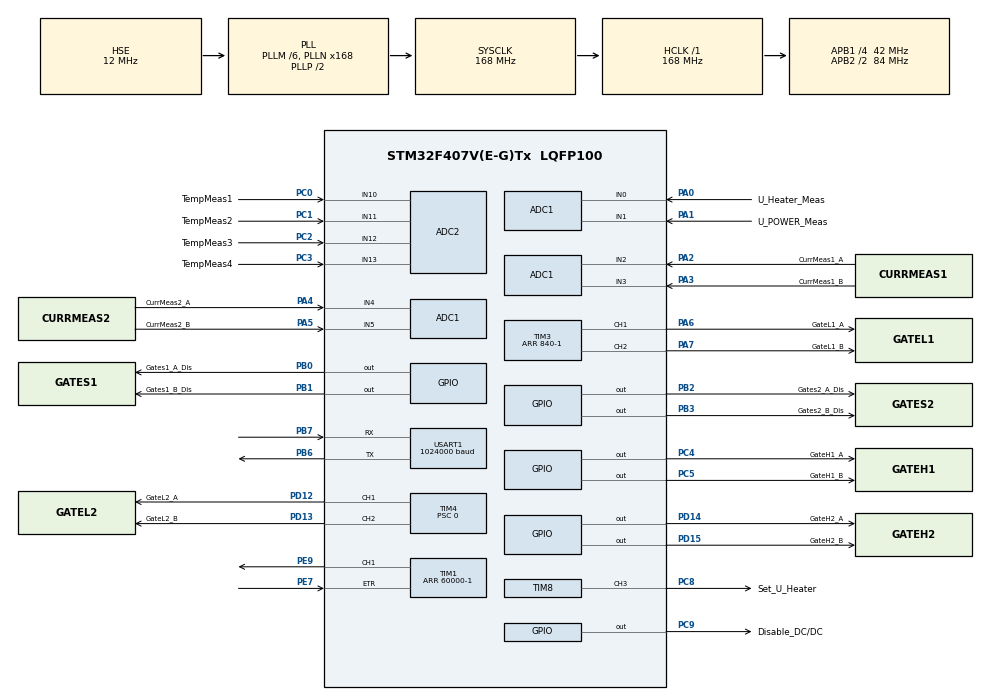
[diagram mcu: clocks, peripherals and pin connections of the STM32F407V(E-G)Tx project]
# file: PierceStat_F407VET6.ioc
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ADC1.Channel-0\#ChannelRegularConversion=ADC_CHANNEL_0
ADC1.Channel-1\#ChannelRegularConversion=ADC_CHANNEL_1
ADC1.Channel-2\#ChannelRegularConversion=ADC_CHANNEL_2
ADC1.Channel-3\#ChannelRegularConversion=ADC_CHANNEL_3
ADC1.Channel-4\#ChannelRegularConversion=ADC_CHANNEL_4
ADC1.Channel-5\#ChannelRegularConversion=ADC_CHANNEL_5
ADC1.ContinuousConvMode=ENABLE
ADC1.DMAContinuousRequests=ENABLE
ADC1.EOCSelection=ADC_EOC_SEQ_CONV
ADC1.NbrOfConversion=6
ADC1.NbrOfConversionFlag=1
ADC1.Rank-0\#ChannelRegularConversion=1
ADC1.Rank-1\#ChannelRegularConversion=2
ADC1.Rank-2\#ChannelRegularConversion=3
ADC1.Rank-3\#ChannelRegularConversion=4
ADC1.Rank-4\#ChannelRegularConversion=5
ADC1.Rank-5\#ChannelRegularConversion=6
ADC1.SamplingTime-0\#ChannelRegularConversion=ADC_SAMPLETIME_144CYCLES
ADC1.SamplingTime-1\#ChannelRegularConversion=ADC_SAMPLETIME_144CYCLES
ADC1.SamplingTime-2\#ChannelRegularConversion=ADC_SAMPLETIME_144CYCLES
ADC1.SamplingTime-3\#ChannelRegularConversion=ADC_SAMPLETIME_144CYCLES
ADC1.SamplingTime-4\#ChannelRegularConversion=ADC_SAMPLETIME_144CYCLES
ADC1.SamplingTime-5\#ChannelRegularConversion=ADC_SAMPLETIME_144CYCLES
ADC1.master=1
ADC2.Channel-1\#ChannelRegularConversion=ADC_CHANNEL_10
ADC2.Channel-2\#ChannelRegularConversion=ADC_CHANNEL_11
ADC2.Channel-3\#ChannelRegularConversion=ADC_CHANNEL_12
ADC2.Channel-4\#ChannelRegularConversion=ADC_CHANNEL_13
ADC2.ClockPrescaler=ADC_CLOCK_SYNC_PCLK_DIV4
ADC2.ContinuousConvMode=ENABLE
ADC2.DMAContinuousRequests=ENABLE
ADC2.EOCSelection=ADC_EOC_SEQ_CONV
ADC2.NbrOfConversion=4
ADC2.NbrOfConversionFlag=1
ADC2.Rank-1\#ChannelRegularConversion=1
ADC2.Rank-2\#ChannelRegularConversion=2
ADC2.Rank-3\#ChannelRegularConversion=3
ADC2.Rank-4\#ChannelRegularConversion=4
ADC2.SamplingTime-1\#ChannelRegularConversion=ADC_SAMPLETIME_144CYCLES
ADC2.SamplingTime-2\#ChannelRegularConversion=ADC_SAMPLETIME_144CYCLES
ADC2.SamplingTime-3\#ChannelRegularConversion=ADC_SAMPLETIME_144CYCLES
ADC2.SamplingTime-4\#ChannelRegularConversion=ADC_SAMPLETIME_144CYCLES
Dma.ADC1.0.Direction=DMA_PERIPH_TO_MEMORY
Dma.ADC1.0.FIFOMode=DMA_FIFOMODE_DISABLE
Dma.ADC1.0.Instance=DMA2_Stream0
Dma.ADC1.0.MemDataAlignment=DMA_MDATAALIGN_HALFWORD
Dma.ADC1.0.MemInc=DMA_MINC_ENABLE
Dma.ADC1.0.Mode=DMA_CIRCULAR
Dma.ADC1.0.PeriphDataAlignment=DMA_PDATAALIGN_HALFWORD
Dma.ADC1.0.PeriphInc=DMA_PINC_DISABLE
Dma.ADC1.0.Priority=DMA_PRIORITY_LOW
Dma.ADC2.1.Direction=DMA_PERIPH_TO_MEMORY
Dma.ADC2.1.FIFOMode=DMA_FIFOMODE_DISABLE
Dma.ADC2.1.Instance=DMA2_Stream2
Dma.ADC2.1.MemDataAlignment=DMA_MDATAALIGN_HALFWORD
Dma.ADC2.1.MemInc=DMA_MINC_ENABLE
Dma.ADC2.1.Mode=DMA_CIRCULAR
Dma.ADC2.1.PeriphDataAlignment=DMA_PDATAALIGN_HALFWORD
Dma.ADC2.1.PeriphInc=DMA_PINC_DISABLE
Dma.ADC2.1.Priority=DMA_PRIORITY_LOW
Dma.Request0=ADC1
Dma.Request1=ADC2
IWDG.Prescaler=IWDG_PRESCALER_16
Mcu.Family=STM32F4
Mcu.Name=STM32F407V(E-G)Tx
Mcu.Package=LQFP100
NVIC.DMA2_Stream0_IRQn=true\:1\:0\:true\:false\:true\:false\:true\:true
NVIC.DMA2_Stream2_IRQn=true\:1\:0\:true\:false\:true\:false\:true\:true
NVIC.PriorityGroup=NVIC_PRIORITYGROUP_4
NVIC.TIM1_UP_TIM10_IRQn=true\:0\:0\:false\:false\:true\:true\:true\:true
NVIC.TIM6_DAC_IRQn=true\:3\:0\:true\:false\:true\:true\:true\:true
NVIC.USART1_IRQn=true\:1\:0\:true\:false\:true\:true\:true\:true
PA0-WKUP.GPIO_Label=U_Heater_Meas
PA0-WKUP.Signal=ADCx_IN0
PA1.GPIO_Label=U_POWER_Meas
PA1.Signal=ADCx_IN1
PA13.Mode=Serial_Wire
PA13.Signal=SYS_JTMS-SWDIO
PA14.Mode=Serial_Wire
PA14.Signal=SYS_JTCK-SWCLK
PA2.GPIO_Label=CurrMeas1_A
PA2.Signal=ADCx_IN2
PA3.GPIO_Label=CurrMeas1_B
PA3.Signal=ADCx_IN3
PA4.GPIO_Label=CurrMeas2_A
PA4.Signal=ADCx_IN4
PA5.GPIO_Label=CurrMeas2_B
PA5.Signal=ADCx_IN5
PA6.GPIO_Label=GateL1_A
PA6.Signal=S_TIM3_CH1
PA7.GPIO_Label=GateL1_B
PA7.Signal=S_TIM3_CH2
PB0.GPIO_Label=Gates1_A_Dis
PB0.PinState=GPIO_PIN_SET
PB0.Signal=GPIO_Output
PB1.GPIO_Label=Gates1_B_Dis
PB1.PinState=GPIO_PIN_SET
PB1.Signal=GPIO_Output
PB2.GPIO_Label=Gates2_A_Dis
PB2.PinState=GPIO_PIN_SET
PB2.Signal=GPIO_Output
PB3.GPIO_Label=Gates2_B_Dis
PB3.PinState=GPIO_PIN_SET
PB3.Signal=GPIO_Output
PB6.Mode=Asynchronous
PB6.Signal=USART1_TX
PB7.Mode=Asynchronous
PB7.Signal=USART1_RX
PC0.GPIO_Label=TempMeas1
PC0.Signal=ADCx_IN10
PC1.GPIO_Label=TempMeas2
PC1.Signal=ADCx_IN11
PC2.GPIO_Label=TempMeas3
PC2.Signal=ADCx_IN12
PC3.GPIO_Label=TempMeas4
PC3.Signal=ADCx_IN13
PC4.GPIO_Label=GateH1_A
PC4.PinState=GPIO_PIN_SET
PC4.Signal=GPIO_Output
PC5.GPIO_Label=GateH1_B
PC5.PinState=GPIO_PIN_SET
PC5.Signal=GPIO_Output
PC8.GPIO_Label=Set_U_Heater
PC8.Signal=S_TIM8_CH3
PC9.GPIO_Label=Disable_DC/DC
PC9.PinState=GPIO_PIN_RESET
PC9.Signal=GPIO_Output
PD12.GPIO_Label=GateL2_A
PD12.Signal=S_TIM4_CH1
PD13.GPIO_Label=GateL2_B
PD13.Signal=S_TIM4_CH2
PD14.GPIO_Label=GateH2_A
PD14.PinState=GPIO_PIN_SET
PD14.Signal=GPIO_Output
PD15.GPIO_Label=GateH2_B
PD15.PinState=GPIO_PIN_SET
PD15.Signal=GPIO_Output
PE7.Signal=S_TIM1_ETR
PE9.Signal=S_TIM1_CH1
PH0-OSC_IN.Mode=HSE-External-Oscillator
PH0-OSC_IN.Signal=RCC_OSC_IN
PH1-OSC_OUT.Mode=HSE-External-Oscillator
PH1-OSC_OUT.Signal=RCC_OSC_OUT
ProjectManager.HeapSize=0x200
ProjectManager.StackSize=0x400
ProjectManager.TargetToolchain=STM32CubeIDE
RCC.48MHZClocksFreq_Value=84000000
RCC.AHBFreq_Value=168000000
RCC.APB1CLKDivider=RCC_HCLK_DIV4
RCC.APB1Freq_Value=42000000
RCC.APB1TimFreq_Value=84000000
RCC.APB2CLKDivider=RCC_HCLK_DIV2
RCC.APB2Freq_Value=84000000
RCC.APB2TimFreq_Value=168000000
RCC.CortexFreq_Value=168000000
RCC.HCLKFreq_Value=168000000
RCC.HSE_VALUE=12000000
RCC.HSI_VALUE=16000000
RCC.LSE_VALUE=32768
RCC.PLLI2SN=210
RCC.PLLM=6
RCC.PLLN=168
RCC.PLLSourceVirtual=RCC_PLLSOURCE_HSE
RCC.RCC_MCO1Source=RCC_MCO1SOURCE_HSE
RCC.RCC_MCO2Source=RCC_MCO2SOURCE_PLLI2SCLK
RCC.SYSCLKFreq_VALUE=168000000
RCC.SYSCLKSource=RCC_SYSCLKSOURCE_PLLCLK
RCC.VCOOutputFreq_Value=336000000
SH.ADCx_IN0.0=ADC1_IN0,IN0
SH.ADCx_IN1.0=ADC1_IN1,IN1
SH.ADCx_IN10.0=ADC2_IN10,IN10
SH.ADCx_IN11.0=ADC2_IN11,IN11
SH.ADCx_IN12.0=ADC2_IN12,IN12
SH.ADCx_IN13.0=ADC2_IN13,IN13
SH.ADCx_IN2.0=ADC1_IN2,IN2
SH.ADCx_IN3.0=ADC1_IN3,IN3
SH.ADCx_IN4.0=ADC1_IN4,IN4
SH.ADCx_IN5.0=ADC1_IN5,IN5
SH.S_TIM1_CH1.0=TIM1_CH1,PWM Generation1 CH1
SH.S_TIM1_ETR.0=TIM1_ETR,ClockSourceETR_Mode2
SH.S_TIM3_CH1.0=TIM3_CH1,PWM Generation1 CH1
SH.S_TIM3_CH2.0=TIM3_CH2,PWM Generation2 CH2
SH.S_TIM4_CH1.0=TIM4_CH1,PWM Generation1 CH1
SH.S_TIM4_CH2.0=TIM4_CH2,PWM Generation2 CH2
SH.S_TIM8_CH3.0=TIM8_CH3,PWM Generation3 CH3
TIM1.Channel-PWM\ Generation1\ CH1=TIM_CHANNEL_1
TIM1.ClockFilter=0
TIM1.Period=60000-1
TIM1.Pulse-PWM\ Generation1\ CH1=30000-1
TIM1.TIM_MasterSlaveMode=TIM_MASTERSLAVEMODE_DISABLE
TIM2.Period=4294967295
TIM3.Channel-PWM\ Generation1\ CH1=TIM_CHANNEL_1
TIM3.Channel-PWM\ Generation2\ CH2=TIM_CHANNEL_2
TIM3.Period=840-1
TIM3.Pulse-PWM\ Generation1\ CH1=0
TIM3.Pulse-PWM\ Generation2\ CH2=0
TIM4.Channel-PWM\ Generation1\ CH1=TIM_CHANNEL_1
TIM4.Channel-PWM\ Generation2\ CH2=TIM_CHANNEL_2
TIM4.Period=840-1
TIM4.Prescaler=0
TIM4.Pulse-PWM\ Generation1\ CH1=0
TIM4.Pulse-PWM\ Generation2\ CH2=0
TIM5.Prescaler=8400-1
TIM6.Period=200-1
TIM6.Prescaler=42000-1
TIM8.Channel-PWM\ Generation3\ CH3=TIM_CHANNEL_3
TIM8.Period=16800-1
TIM8.Pulse-PWM\ Generation3\ CH3=2100-1
USART1.BaudRate=1024000
USART1.VirtualMode=VM_ASYNC
VP_IWDG_VS_IWDG.Mode=IWDG_Activate
VP_TIM2_VS_ClockSourceINT.Mode=Internal
VP_TIM3_VS_ClockSourceINT.Mode=Internal
VP_TIM4_VS_ClockSourceINT.Mode=Internal
VP_TIM5_VS_ClockSourceINT.Mode=Internal
VP_TIM6_VS_ClockSourceINT.Mode=Enable_Timer
VP_TIM8_VS_ClockSourceINT.Mode=Internal
board=custom

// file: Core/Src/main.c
/* USER CODE BEGIN Header */
/**
  ******************************************************************************
  * @file           : main.c
  * @brief          : Main program body
  ******************************************************************************
  * @attention
  *
  * Copyright (c) 2022 STMicroelectronics.
  * All rights reserved.
  *
  * This software is licensed under terms that can be found in the LICENSE file
  * in the root directory of this software component.
  * If no LICENSE file comes with this software, it is provided AS-IS.
  *
  ******************************************************************************
  */
/* USER CODE END Header */
#include "main.h"

/* USER CODE BEGIN Includes */

#include <stdio.h>
#include <string.h>
#include "Parameters.h"
#include "UARTCommunication.h"
#include "thermosensors.h"
#include "flashManag.h"
#include "PID.h"
#include "alarms.h"

/* USER CODE END Includes */

/* USER CODE BEGIN PD */
#define FALSE (valueTypes)(bool)false
#define TRUE (valueTypes)(bool)true
/* USER CODE END PD */

ADC_HandleTypeDef hadc1;
ADC_HandleTypeDef hadc2;
DMA_HandleTypeDef hdma_adc1;
DMA_HandleTypeDef hdma_adc2;

IWDG_HandleTypeDef hiwdg;

TIM_HandleTypeDef htim1;
TIM_HandleTypeDef htim2;
TIM_HandleTypeDef htim3;
TIM_HandleTypeDef htim4;
TIM_HandleTypeDef htim5;
TIM_HandleTypeDef htim6;
TIM_HandleTypeDef htim8;

UART_HandleTypeDef huart1;

/* USER CODE BEGIN PV */
//Freq counter variables
uint32_t TimerFreq = 84000000; //Freq of TIM2
uint16_t counterPeriod = 0; //Update period of TIM1 (init in main)
uint32_t counterValue = 0; //TIM2 clock counter value (update in TIM1 interrupt)
uint8_t periodElapsed = 0; //update in TIM1 interrupt

//UART variables
char IDNstring[] = "PierceStat: AssPirates 2023 (CockPit)";

//Buffer for Voltage and Current Measurements
uint16_t dmaADC1buffer[600];
//Buffer for Temp Measurements
uint16_t dmaADC2buffer[400];

//MOSFET Gate PWM
uint32_t freq_PWM_MO = 84000000; //Hz
uint32_t freq_PWM_CH1 = 100000; //Hz
uint32_t freq_PWM_CH2 = 100000; //Hz

//Global alarms
bool globalAlarm = false;
/* USER CODE END PV */

void SystemClock_Config(void);
static void MX_GPIO_Init(void);
static void MX_DMA_Init(void);
static void MX_ADC1_Init(void);
static void MX_ADC2_Init(void);
static void MX_TIM1_Init(void);
static void MX_TIM2_Init(void);
static void MX_TIM3_Init(void);
static void MX_TIM4_Init(void);
static void MX_TIM8_Init(void);
static void MX_USART1_UART_Init(void);
static void MX_TIM5_Init(void);
static void MX_TIM6_Init(void);
static void MX_IWDG_Init(void);

int main(void)
{
  /* USER CODE BEGIN 1 */
  InitParams();
  /* USER CODE END 1 */

  /* MCU Configuration--------------------------------------------------------*/

  /* Reset of all peripherals, Initializes the Flash interface and the Systick. */
  HAL_Init();

  /* Configure the system clock */
  SystemClock_Config();

  /* Initialize all configured peripherals */
  MX_GPIO_Init();
  MX_DMA_Init();
  MX_ADC1_Init();
  MX_ADC2_Init();
  MX_TIM1_Init();
  MX_TIM2_Init();
  MX_TIM3_Init();
  MX_TIM4_Init();
  MX_TIM8_Init();
  MX_USART1_UART_Init();
  MX_TIM5_Init();
  MX_TIM6_Init();
  //MX_IWDG_Init();
  /* USER CODE BEGIN 2 */

  //Init flash reading
  InitVirtAddTab();
  ReadFlash(); //time consuming
  setU_HeaterOnOff(getU_HeaterOnOff());

  //Global 100us clock start (RTC - 120 hours limit)
  HAL_TIM_Base_Start(&htim5);

  //Set_U_Heater PWM (10 kHz, 16800)
  HAL_TIM_PWM_Start(&htim8, TIM_CHANNEL_3);
  //Timer @84MHz for clock reference
  HAL_TIM_Base_Start(&htim2);
  //External clock source for counter
  counterPeriod = __HAL_TIM_GET_AUTORELOAD(&htim1);
  __HAL_TIM_CLEAR_IT(&htim1,TIM_IT_UPDATE);
  HAL_TIM_Base_Start_IT(&htim1);

  //ADC DMA start (10 channels)
  HAL_ADC_Start_DMA(&hadc1, (uint32_t*)dmaADC1buffer, 600);
  HAL_ADC_Start_DMA(&hadc2, (uint32_t*)dmaADC2buffer, 400);

  //100ms interrupt for ADC and other staff
  __HAL_TIM_CLEAR_IT(&htim6,TIM_IT_UPDATE);
  HAL_TIM_Base_Start_IT(&htim6);

  //UART interrupt enabling
  HAL_UART_Receive_IT(&huart1, RXbufferChar, 1);

  //Heater PWM init
  __HAL_TIM_SET_PRESCALER(&htim3, 0);
  __HAL_TIM_SET_AUTORELOAD(&htim3, freq_PWM_MO/freq_PWM_CH1 - 1);
  __HAL_TIM_SET_PRESCALER(&htim4, 0);
  __HAL_TIM_SET_AUTORELOAD(&htim4, freq_PWM_MO/freq_PWM_CH2 - 1);

  /* USER CODE END 2 */

  /* Infinite loop */
  /* USER CODE BEGIN WHILE */
while (1)
{
	//Watch dog reset
	HAL_IWDG_Refresh(&hiwdg);

    /* USER CODE END WHILE */

  }
}

void SystemClock_Config(void)
{
  RCC_OscInitTypeDef RCC_OscInitStruct = {0};
  RCC_ClkInitTypeDef RCC_ClkInitStruct = {0};

  /** Configure the main internal regulator output voltage
  */
  __HAL_RCC_PWR_CLK_ENABLE();
  __HAL_PWR_VOLTAGESCALING_CONFIG(PWR_REGULATOR_VOLTAGE_SCALE1);

  /** Initializes the RCC Oscillators according to the specified parameters
  * in the RCC_OscInitTypeDef structure.
  */
  RCC_OscInitStruct.OscillatorType = RCC_OSCILLATORTYPE_LSI|RCC_OSCILLATORTYPE_HSE;
  RCC_OscInitStruct.HSEState = RCC_HSE_ON;
  RCC_OscInitStruct.LSIState = RCC_LSI_ON;
  RCC_OscInitStruct.PLL.PLLState = RCC_PLL_ON;
  RCC_OscInitStruct.PLL.PLLSource = RCC_PLLSOURCE_HSE;
  RCC_OscInitStruct.PLL.PLLM = 6;
  RCC_OscInitStruct.PLL.PLLN = 168;
  RCC_OscInitStruct.PLL.PLLP = RCC_PLLP_DIV2;
  RCC_OscInitStruct.PLL.PLLQ = 4;
  if (HAL_RCC_OscConfig(&RCC_OscInitStruct) != HAL_OK)
  {
    Error_Handler();
  }

  /** Initializes the CPU, AHB and APB buses clocks
  */
  RCC_ClkInitStruct.ClockType = RCC_CLOCKTYPE_HCLK|RCC_CLOCKTYPE_SYSCLK
                              |RCC_CLOCKTYPE_PCLK1|RCC_CLOCKTYPE_PCLK2;
  RCC_ClkInitStruct.SYSCLKSource = RCC_SYSCLKSOURCE_PLLCLK;
  RCC_ClkInitStruct.AHBCLKDivider = RCC_SYSCLK_DIV1;
  RCC_ClkInitStruct.APB1CLKDivider = RCC_HCLK_DIV4;
  RCC_ClkInitStruct.APB2CLKDivider = RCC_HCLK_DIV2;

  if (HAL_RCC_ClockConfig(&RCC_ClkInitStruct, FLASH_LATENCY_5) != HAL_OK)
  {
    Error_Handler();
  }
}

static void MX_ADC1_Init(void)
{

  ADC_ChannelConfTypeDef sConfig = {0};

  /** Configure the global features of the ADC (Clock, Resolution, Data Alignment and number of conversion)
  */
  hadc1.Instance = ADC1;
  hadc1.Init.ClockPrescaler = ADC_CLOCK_SYNC_PCLK_DIV4;
  hadc1.Init.Resolution = ADC_RESOLUTION_12B;
  hadc1.Init.ScanConvMode = ENABLE;
  hadc1.Init.ContinuousConvMode = ENABLE;
  hadc1.Init.DiscontinuousConvMode = DISABLE;
  hadc1.Init.ExternalTrigConvEdge = ADC_EXTERNALTRIGCONVEDGE_NONE;
  hadc1.Init.ExternalTrigConv = ADC_SOFTWARE_START;
  hadc1.Init.DataAlign = ADC_DATAALIGN_RIGHT;
  hadc1.Init.NbrOfConversion = 6;
  hadc1.Init.DMAContinuousRequests = ENABLE;
  hadc1.Init.EOCSelection = ADC_EOC_SEQ_CONV;
  if (HAL_ADC_Init(&hadc1) != HAL_OK)
  {
    Error_Handler();
  }

  /** Configure for the selected ADC regular channel its corresponding rank in the sequencer and its sample time.
  */
  sConfig.Channel = ADC_CHANNEL_0;
  sConfig.Rank = 1;
  sConfig.SamplingTime = ADC_SAMPLETIME_144CYCLES;
  if (HAL_ADC_ConfigChannel(&hadc1, &sConfig) != HAL_OK)
  {
    Error_Handler();
  }

  /** Configure for the selected ADC regular channel its corresponding rank in the sequencer and its sample time.
  */
  sConfig.Channel = ADC_CHANNEL_1;
  sConfig.Rank = 2;
  if (HAL_ADC_ConfigChannel(&hadc1, &sConfig) != HAL_OK)
  {
    Error_Handler();
  }

  /** Configure for the selected ADC regular channel its corresponding rank in the sequencer and its sample time.
  */
  sConfig.Channel = ADC_CHANNEL_2;
  sConfig.Rank = 3;
  if (HAL_ADC_ConfigChannel(&hadc1, &sConfig) != HAL_OK)
  {
    Error_Handler();
  }

  /** Configure for the selected ADC regular channel its corresponding rank in the sequencer and its sample time.
  */
  sConfig.Channel = ADC_CHANNEL_3;
  sConfig.Rank = 4;
  if (HAL_ADC_ConfigChannel(&hadc1, &sConfig) != HAL_OK)
  {
    Error_Handler();
  }

  /** Configure for the selected ADC regular channel its corresponding rank in the sequencer and its sample time.
  */
  sConfig.Channel = ADC_CHANNEL_4;
  sConfig.Rank = 5;
  if (HAL_ADC_ConfigChannel(&hadc1, &sConfig) != HAL_OK)
  {
    Error_Handler();
  }

  /** Configure for the selected ADC regular channel its corresponding rank in the sequencer and its sample time.
  */
  sConfig.Channel = ADC_CHANNEL_5;
  sConfig.Rank = 6;
  if (HAL_ADC_ConfigChannel(&hadc1, &sConfig) != HAL_OK)
  {
    Error_Handler();
  }

}

static void MX_ADC2_Init(void)
{

  ADC_ChannelConfTypeDef sConfig = {0};

  /** Configure the global features of the ADC (Clock, Resolution, Data Alignment and number of conversion)
  */
  hadc2.Instance = ADC2;
  hadc2.Init.ClockPrescaler = ADC_CLOCK_SYNC_PCLK_DIV4;
  hadc2.Init.Resolution = ADC_RESOLUTION_12B;
  hadc2.Init.ScanConvMode = ENABLE;
  hadc2.Init.ContinuousConvMode = ENABLE;
  hadc2.Init.DiscontinuousConvMode = DISABLE;
  hadc2.Init.ExternalTrigConvEdge = ADC_EXTERNALTRIGCONVEDGE_NONE;
  hadc2.Init.ExternalTrigConv = ADC_SOFTWARE_START;
  hadc2.Init.DataAlign = ADC_DATAALIGN_RIGHT;
  hadc2.Init.NbrOfConversion = 4;
  hadc2.Init.DMAContinuousRequests = ENABLE;
  hadc2.Init.EOCSelection = ADC_EOC_SEQ_CONV;
  if (HAL_ADC_Init(&hadc2) != HAL_OK)
  {
    Error_Handler();
  }

  /** Configure for the selected ADC regular channel its corresponding rank in the sequencer and its sample time.
  */
  sConfig.Channel = ADC_CHANNEL_10;
  sConfig.Rank = 1;
  sConfig.SamplingTime = ADC_SAMPLETIME_144CYCLES;
  if (HAL_ADC_ConfigChannel(&hadc2, &sConfig) != HAL_OK)
  {
    Error_Handler();
  }

  /** Configure for the selected ADC regular channel its corresponding rank in the sequencer and its sample time.
  */
  sConfig.Channel = ADC_CHANNEL_11;
  sConfig.Rank = 2;
  if (HAL_ADC_ConfigChannel(&hadc2, &sConfig) != HAL_OK)
  {
    Error_Handler();
  }

  /** Configure for the selected ADC regular channel its corresponding rank in the sequencer and its sample time.
  */
  sConfig.Channel = ADC_CHANNEL_12;
  sConfig.Rank = 3;
  if (HAL_ADC_ConfigChannel(&hadc2, &sConfig) != HAL_OK)
  {
    Error_Handler();
  }

  /** Configure for the selected ADC regular channel its corresponding rank in the sequencer and its sample time.
  */
  sConfig.Channel = ADC_CHANNEL_13;
  sConfig.Rank = 4;
  if (HAL_ADC_ConfigChannel(&hadc2, &sConfig) != HAL_OK)
  {
    Error_Handler();
  }

}

static void MX_IWDG_Init(void)
{

  hiwdg.Instance = IWDG;
  hiwdg.Init.Prescaler = IWDG_PRESCALER_16;
  hiwdg.Init.Reload = 4095;
  if (HAL_IWDG_Init(&hiwdg) != HAL_OK)
  {
    Error_Handler();
  }

}

static void MX_TIM1_Init(void)
{

  TIM_ClockConfigTypeDef sClockSourceConfig = {0};
  TIM_MasterConfigTypeDef sMasterConfig = {0};
  TIM_OC_InitTypeDef sConfigOC = {0};
  TIM_BreakDeadTimeConfigTypeDef sBreakDeadTimeConfig = {0};

  htim1.Instance = TIM1;
  htim1.Init.Prescaler = 0;
  htim1.Init.CounterMode = TIM_COUNTERMODE_UP;
  htim1.Init.Period = 60000-1;
  htim1.Init.ClockDivision = TIM_CLOCKDIVISION_DIV1;
  htim1.Init.RepetitionCounter = 0;
  htim1.Init.AutoReloadPreload = TIM_AUTORELOAD_PRELOAD_DISABLE;
  if (HAL_TIM_Base_Init(&htim1) != HAL_OK)
  {
    Error_Handler();
  }
  sClockSourceConfig.ClockSource = TIM_CLOCKSOURCE_ETRMODE2;
  sClockSourceConfig.ClockPolarity = TIM_CLOCKPOLARITY_NONINVERTED;
  sClockSourceConfig.ClockPrescaler = TIM_CLOCKPRESCALER_DIV1;
  sClockSourceConfig.ClockFilter = 0;
  if (HAL_TIM_ConfigClockSource(&htim1, &sClockSourceConfig) != HAL_OK)
  {
    Error_Handler();
  }
  if (HAL_TIM_PWM_Init(&htim1) != HAL_OK)
  {
    Error_Handler();
  }
  sMasterConfig.MasterOutputTrigger = TIM_TRGO_RESET;
  sMasterConfig.MasterSlaveMode = TIM_MASTERSLAVEMODE_DISABLE;
  if (HAL_TIMEx_MasterConfigSynchronization(&htim1, &sMasterConfig) != HAL_OK)
  {
    Error_Handler();
  }
  sConfigOC.OCMode = TIM_OCMODE_PWM1;
  sConfigOC.Pulse = 30000-1;
  sConfigOC.OCPolarity = TIM_OCPOLARITY_HIGH;
  sConfigOC.OCNPolarity = TIM_OCNPOLARITY_HIGH;
  sConfigOC.OCFastMode = TIM_OCFAST_DISABLE;
  sConfigOC.OCIdleState = TIM_OCIDLESTATE_RESET;
  sConfigOC.OCNIdleState = TIM_OCNIDLESTATE_RESET;
  if (HAL_TIM_PWM_ConfigChannel(&htim1, &sConfigOC, TIM_CHANNEL_1) != HAL_OK)
  {
    Error_Handler();
  }
  sBreakDeadTimeConfig.OffStateRunMode = TIM_OSSR_DISABLE;
  sBreakDeadTimeConfig.OffStateIDLEMode = TIM_OSSI_DISABLE;
  sBreakDeadTimeConfig.LockLevel = TIM_LOCKLEVEL_OFF;
  sBreakDeadTimeConfig.DeadTime = 0;
  sBreakDeadTimeConfig.BreakState = TIM_BREAK_DISABLE;
  sBreakDeadTimeConfig.BreakPolarity = TIM_BREAKPOLARITY_HIGH;
  sBreakDeadTimeConfig.AutomaticOutput = TIM_AUTOMATICOUTPUT_DISABLE;
  if (HAL_TIMEx_ConfigBreakDeadTime(&htim1, &sBreakDeadTimeConfig) != HAL_OK)
  {
    Error_Handler();
  }
  HAL_TIM_MspPostInit(&htim1);

}

static void MX_TIM2_Init(void)
{

  TIM_ClockConfigTypeDef sClockSourceConfig = {0};
  TIM_MasterConfigTypeDef sMasterConfig = {0};

  htim2.Instance = TIM2;
  htim2.Init.Prescaler = 0;
  htim2.Init.CounterMode = TIM_COUNTERMODE_UP;
  htim2.Init.Period = 4294967295;
  htim2.Init.ClockDivision = TIM_CLOCKDIVISION_DIV1;
  htim2.Init.AutoReloadPreload = TIM_AUTORELOAD_PRELOAD_DISABLE;
  if (HAL_TIM_Base_Init(&htim2) != HAL_OK)
  {
    Error_Handler();
  }
  sClockSourceConfig.ClockSource = TIM_CLOCKSOURCE_INTERNAL;
  if (HAL_TIM_ConfigClockSource(&htim2, &sClockSourceConfig) != HAL_OK)
  {
    Error_Handler();
  }
  sMasterConfig.MasterOutputTrigger = TIM_TRGO_RESET;
  sMasterConfig.MasterSlaveMode = TIM_MASTERSLAVEMODE_DISABLE;
  if (HAL_TIMEx_MasterConfigSynchronization(&htim2, &sMasterConfig) != HAL_OK)
  {
    Error_Handler();
  }

}

static void MX_TIM3_Init(void)
{

  TIM_ClockConfigTypeDef sClockSourceConfig = {0};
  TIM_MasterConfigTypeDef sMasterConfig = {0};
  TIM_OC_InitTypeDef sConfigOC = {0};

  htim3.Instance = TIM3;
  htim3.Init.Prescaler = 0;
  htim3.Init.CounterMode = TIM_COUNTERMODE_UP;
  htim3.Init.Period = 840-1;
  htim3.Init.ClockDivision = TIM_CLOCKDIVISION_DIV1;
  htim3.Init.AutoReloadPreload = TIM_AUTORELOAD_PRELOAD_DISABLE;
  if (HAL_TIM_Base_Init(&htim3) != HAL_OK)
  {
    Error_Handler();
  }
  sClockSourceConfig.ClockSource = TIM_CLOCKSOURCE_INTERNAL;
  if (HAL_TIM_ConfigClockSource(&htim3, &sClockSourceConfig) != HAL_OK)
  {
    Error_Handler();
  }
  if (HAL_TIM_PWM_Init(&htim3) != HAL_OK)
  {
    Error_Handler();
  }
  sMasterConfig.MasterOutputTrigger = TIM_TRGO_RESET;
  sMasterConfig.MasterSlaveMode = TIM_MASTERSLAVEMODE_DISABLE;
  if (HAL_TIMEx_MasterConfigSynchronization(&htim3, &sMasterConfig) != HAL_OK)
  {
    Error_Handler();
  }
  sConfigOC.OCMode = TIM_OCMODE_PWM1;
  sConfigOC.Pulse = 0;
  sConfigOC.OCPolarity = TIM_OCPOLARITY_HIGH;
  sConfigOC.OCFastMode = TIM_OCFAST_DISABLE;
  if (HAL_TIM_PWM_ConfigChannel(&htim3, &sConfigOC, TIM_CHANNEL_1) != HAL_OK)
  {
    Error_Handler();
  }
  if (HAL_TIM_PWM_ConfigChannel(&htim3, &sConfigOC, TIM_CHANNEL_2) != HAL_OK)
  {
    Error_Handler();
  }
  HAL_TIM_MspPostInit(&htim3);

}

static void MX_TIM4_Init(void)
{

  TIM_ClockConfigTypeDef sClockSourceConfig = {0};
  TIM_MasterConfigTypeDef sMasterConfig = {0};
  TIM_OC_InitTypeDef sConfigOC = {0};

  htim4.Instance = TIM4;
  htim4.Init.Prescaler = 0;
  htim4.Init.CounterMode = TIM_COUNTERMODE_UP;
  htim4.Init.Period = 840-1;
  htim4.Init.ClockDivision = TIM_CLOCKDIVISION_DIV1;
  htim4.Init.AutoReloadPreload = TIM_AUTORELOAD_PRELOAD_DISABLE;
  if (HAL_TIM_Base_Init(&htim4) != HAL_OK)
  {
    Error_Handler();
  }
  sClockSourceConfig.ClockSource = TIM_CLOCKSOURCE_INTERNAL;
  if (HAL_TIM_ConfigClockSource(&htim4, &sClockSourceConfig) != HAL_OK)
  {
    Error_Handler();
  }
  if (HAL_TIM_PWM_Init(&htim4) != HAL_OK)
  {
    Error_Handler();
  }
  sMasterConfig.MasterOutputTrigger = TIM_TRGO_RESET;
  sMasterConfig.MasterSlaveMode = TIM_MASTERSLAVEMODE_DISABLE;
  if (HAL_TIMEx_MasterConfigSynchronization(&htim4, &sMasterConfig) != HAL_OK)
  {
    Error_Handler();
  }
  sConfigOC.OCMode = TIM_OCMODE_PWM1;
  sConfigOC.Pulse = 0;
  sConfigOC.OCPolarity = TIM_OCPOLARITY_HIGH;
  sConfigOC.OCFastMode = TIM_OCFAST_DISABLE;
  if (HAL_TIM_PWM_ConfigChannel(&htim4, &sConfigOC, TIM_CHANNEL_1) != HAL_OK)
  {
    Error_Handler();
  }
  if (HAL_TIM_PWM_ConfigChannel(&htim4, &sConfigOC, TIM_CHANNEL_2) != HAL_OK)
  {
    Error_Handler();
  }
  HAL_TIM_MspPostInit(&htim4);

}

static void MX_TIM5_Init(void)
{

  TIM_ClockConfigTypeDef sClockSourceConfig = {0};
  TIM_MasterConfigTypeDef sMasterConfig = {0};

  htim5.Instance = TIM5;
  htim5.Init.Prescaler = 8400-1;
  htim5.Init.CounterMode = TIM_COUNTERMODE_UP;
  htim5.Init.Period = 4294967295;
  htim5.Init.ClockDivision = TIM_CLOCKDIVISION_DIV1;
  htim5.Init.AutoReloadPreload = TIM_AUTORELOAD_PRELOAD_DISABLE;
  if (HAL_TIM_Base_Init(&htim5) != HAL_OK)
  {
    Error_Handler();
  }
  sClockSourceConfig.ClockSource = TIM_CLOCKSOURCE_INTERNAL;
  if (HAL_TIM_ConfigClockSource(&htim5, &sClockSourceConfig) != HAL_OK)
  {
    Error_Handler();
  }
  sMasterConfig.MasterOutputTrigger = TIM_TRGO_RESET;
  sMasterConfig.MasterSlaveMode = TIM_MASTERSLAVEMODE_DISABLE;
  if (HAL_TIMEx_MasterConfigSynchronization(&htim5, &sMasterConfig) != HAL_OK)
  {
    Error_Handler();
  }

}

static void MX_TIM6_Init(void)
{

  TIM_MasterConfigTypeDef sMasterConfig = {0};

  htim6.Instance = TIM6;
  htim6.Init.Prescaler = 42000-1;
  htim6.Init.CounterMode = TIM_COUNTERMODE_UP;
  htim6.Init.Period = 200-1;
  htim6.Init.AutoReloadPreload = TIM_AUTORELOAD_PRELOAD_DISABLE;
  if (HAL_TIM_Base_Init(&htim6) != HAL_OK)
  {
    Error_Handler();
  }
  sMasterConfig.MasterOutputTrigger = TIM_TRGO_RESET;
  sMasterConfig.MasterSlaveMode = TIM_MASTERSLAVEMODE_DISABLE;
  if (HAL_TIMEx_MasterConfigSynchronization(&htim6, &sMasterConfig) != HAL_OK)
  {
    Error_Handler();
  }

}

static void MX_TIM8_Init(void)
{

  TIM_ClockConfigTypeDef sClockSourceConfig = {0};
  TIM_MasterConfigTypeDef sMasterConfig = {0};
  TIM_OC_InitTypeDef sConfigOC = {0};
  TIM_BreakDeadTimeConfigTypeDef sBreakDeadTimeConfig = {0};

  htim8.Instance = TIM8;
  htim8.Init.Prescaler = 0;
  htim8.Init.CounterMode = TIM_COUNTERMODE_UP;
  htim8.Init.Period = 16800-1;
  htim8.Init.ClockDivision = TIM_CLOCKDIVISION_DIV1;
  htim8.Init.RepetitionCounter = 0;
  htim8.Init.AutoReloadPreload = TIM_AUTORELOAD_PRELOAD_DISABLE;
  if (HAL_TIM_Base_Init(&htim8) != HAL_OK)
  {
    Error_Handler();
  }
  sClockSourceConfig.ClockSource = TIM_CLOCKSOURCE_INTERNAL;
  if (HAL_TIM_ConfigClockSource(&htim8, &sClockSourceConfig) != HAL_OK)
  {
    Error_Handler();
  }
  if (HAL_TIM_PWM_Init(&htim8) != HAL_OK)
  {
    Error_Handler();
  }
  sMasterConfig.MasterOutputTrigger = TIM_TRGO_RESET;
  sMasterConfig.MasterSlaveMode = TIM_MASTERSLAVEMODE_DISABLE;
  if (HAL_TIMEx_MasterConfigSynchronization(&htim8, &sMasterConfig) != HAL_OK)
  {
    Error_Handler();
  }
  sConfigOC.OCMode = TIM_OCMODE_PWM1;
  sConfigOC.Pulse = 2100-1;
  sConfigOC.OCPolarity = TIM_OCPOLARITY_HIGH;
  sConfigOC.OCNPolarity = TIM_OCNPOLARITY_HIGH;
  sConfigOC.OCFastMode = TIM_OCFAST_DISABLE;
  sConfigOC.OCIdleState = TIM_OCIDLESTATE_RESET;
  sConfigOC.OCNIdleState = TIM_OCNIDLESTATE_RESET;
  if (HAL_TIM_PWM_ConfigChannel(&htim8, &sConfigOC, TIM_CHANNEL_3) != HAL_OK)
  {
    Error_Handler();
  }
  sBreakDeadTimeConfig.OffStateRunMode = TIM_OSSR_DISABLE;
  sBreakDeadTimeConfig.OffStateIDLEMode = TIM_OSSI_DISABLE;
  sBreakDeadTimeConfig.LockLevel = TIM_LOCKLEVEL_OFF;
  sBreakDeadTimeConfig.DeadTime = 0;
  sBreakDeadTimeConfig.BreakState = TIM_BREAK_DISABLE;
  sBreakDeadTimeConfig.BreakPolarity = TIM_BREAKPOLARITY_HIGH;
  sBreakDeadTimeConfig.AutomaticOutput = TIM_AUTOMATICOUTPUT_DISABLE;
  if (HAL_TIMEx_ConfigBreakDeadTime(&htim8, &sBreakDeadTimeConfig) != HAL_OK)
  {
    Error_Handler();
  }
  HAL_TIM_MspPostInit(&htim8);

}

static void MX_USART1_UART_Init(void)
{

  huart1.Instance = USART1;
  huart1.Init.BaudRate = 1024000;
  huart1.Init.WordLength = UART_WORDLENGTH_8B;
  huart1.Init.StopBits = UART_STOPBITS_1;
  huart1.Init.Parity = UART_PARITY_NONE;
  huart1.Init.Mode = UART_MODE_TX_RX;
  huart1.Init.HwFlowCtl = UART_HWCONTROL_NONE;
  huart1.Init.OverSampling = UART_OVERSAMPLING_16;
  if (HAL_UART_Init(&huart1) != HAL_OK)
  {
    Error_Handler();
  }

}

static void MX_DMA_Init(void)
{

  /* DMA controller clock enable */
  __HAL_RCC_DMA2_CLK_ENABLE();

  /* DMA interrupt init */
  /* DMA2_Stream0_IRQn interrupt configuration */
  HAL_NVIC_SetPriority(DMA2_Stream0_IRQn, 1, 0);
  HAL_NVIC_EnableIRQ(DMA2_Stream0_IRQn);
  /* DMA2_Stream2_IRQn interrupt configuration */
  HAL_NVIC_SetPriority(DMA2_Stream2_IRQn, 1, 0);
  HAL_NVIC_EnableIRQ(DMA2_Stream2_IRQn);

}

static void MX_GPIO_Init(void)
{
  GPIO_InitTypeDef GPIO_InitStruct = {0};

  /* GPIO Ports Clock Enable */
  __HAL_RCC_GPIOH_CLK_ENABLE();
  __HAL_RCC_GPIOC_CLK_ENABLE();
  __HAL_RCC_GPIOA_CLK_ENABLE();
  __HAL_RCC_GPIOB_CLK_ENABLE();
  __HAL_RCC_GPIOE_CLK_ENABLE();
  __HAL_RCC_GPIOD_CLK_ENABLE();

  /*Configure GPIO pin Output Level */
  HAL_GPIO_WritePin(GPIOC, GateH1_A_Pin|GateH1_B_Pin, GPIO_PIN_SET);

  /*Configure GPIO pin Output Level */
  HAL_GPIO_WritePin(GPIOB, Gates1_A_Dis_Pin|Gates1_B_Dis_Pin|Gates2_A_Dis_Pin|Gates2_B_Dis_Pin, GPIO_PIN_SET);

  /*Configure GPIO pin Output Level */
  HAL_GPIO_WritePin(GPIOD, GateH2_A_Pin|GateH2_B_Pin, GPIO_PIN_SET);

  /*Configure GPIO pin Output Level */
  HAL_GPIO_WritePin(Disable_DC_DC_GPIO_Port, Disable_DC_DC_Pin, GPIO_PIN_RESET);

  /*Configure GPIO pins : GateH1_A_Pin GateH1_B_Pin Disable_DC_DC_Pin */
  GPIO_InitStruct.Pin = GateH1_A_Pin|GateH1_B_Pin|Disable_DC_DC_Pin;
  GPIO_InitStruct.Mode = GPIO_MODE_OUTPUT_PP;
  GPIO_InitStruct.Pull = GPIO_NOPULL;
  GPIO_InitStruct.Speed = GPIO_SPEED_FREQ_LOW;
  HAL_GPIO_Init(GPIOC, &GPIO_InitStruct);

  /*Configure GPIO pins : Gates1_A_Dis_Pin Gates1_B_Dis_Pin Gates2_A_Dis_Pin Gates2_B_Dis_Pin */
  GPIO_InitStruct.Pin = Gates1_A_Dis_Pin|Gates1_B_Dis_Pin|Gates2_A_Dis_Pin|Gates2_B_Dis_Pin;
  GPIO_InitStruct.Mode = GPIO_MODE_OUTPUT_PP;
  GPIO_InitStruct.Pull = GPIO_NOPULL;
  GPIO_InitStruct.Speed = GPIO_SPEED_FREQ_LOW;
  HAL_GPIO_Init(GPIOB, &GPIO_InitStruct);

  /*Configure GPIO pins : GateH2_A_Pin GateH2_B_Pin */
  GPIO_InitStruct.Pin = GateH2_A_Pin|GateH2_B_Pin;
  GPIO_InitStruct.Mode = GPIO_MODE_OUTPUT_PP;
  GPIO_InitStruct.Pull = GPIO_NOPULL;
  GPIO_InitStruct.Speed = GPIO_SPEED_FREQ_LOW;
  HAL_GPIO_Init(GPIOD, &GPIO_InitStruct);

}

/* USER CODE BEGIN 4 */
void HAL_TIM_PeriodElapsedCallback(TIM_HandleTypeDef *htim){

	if(htim == &htim1) {
		uint32_t temp = __HAL_TIM_GET_COUNTER(&htim2);
		uint32_t delta = temp - counterValue;
		if(delta < 0.05 * TimerFreq) {
			periodElapsed++;
		}
		else {
			float freq = ((float)counterPeriod + 1) / (temp - counterValue) * (float)TimerFreq * (periodElapsed + 1);
			setFreq((valueTypes)freq);
			counterValue = temp;
			periodElapsed = 0;
		}

	}
	else if(htim == &htim6) { //100 ms

		float ADC1res[6] = {0};
		float ADC2res[4] = {0};
		for(int i = 0; i < 100; i++) {
			for(int j = 0; j < 6; j++) {
				ADC1res[j] += dmaADC1buffer[i*6+j];
			}
			for(int j = 0; j < 4; j++) {
				ADC2res[j] += dmaADC2buffer[i*4+j];
			}
		}
		setU_24Vmeas((valueTypes)(ADC1res[0]/100.0f * getU_24Vcoeff().val_float));
		setU_HeaterMeas((valueTypes)(ADC1res[1]/100.0f * getU_HeaterCoeff().val_float));
		setI_1A((valueTypes)(ADC1res[2]/100.0f * getI_1A_Coeff().val_float));
		setI_1B((valueTypes)(ADC1res[3]/100.0f * getI_1B_Coeff().val_float));
		setI_2A((valueTypes)(ADC1res[4]/100.0f * getI_2A_Coeff().val_float));
		setI_2B((valueTypes)(ADC1res[5]/100.0f * getI_2B_Coeff().val_float));

		setTemp1((valueTypes)(getTemp3455(ADC2res[0]/100.0f * getTemp1_coeff().val_float)));
		setTemp2((valueTypes)(getTemp3455(ADC2res[1]/100.0f * getTemp2_coeff().val_float)));
		setTemp3((valueTypes)(getTempPt1000(ADC2res[2]/100.0f * getTemp3_coeff().val_float)));
		setTemp4((valueTypes)(getTempPt1000(ADC2res[3]/100.0f * getTemp4_coeff().val_float)));

		globalAlarm = handleAlarms();
		if(globalAlarm) {
			setCh1_OnOff((valueTypes)(bool)false);
			setCh2_OnOff((valueTypes)(bool)false);
		}
		setPWM();

	}

}

/* USER CODE END 4 */

void Error_Handler(void)
{
  /* USER CODE BEGIN Error_Handler_Debug */
  /* User can add his own implementation to report the HAL error return state */
  __disable_irq();
  while (1)
  {
	  UARTtransmit("Hard fault! Something went wrong.");
  }
  /* USER CODE END Error_Handler_Debug */
}
